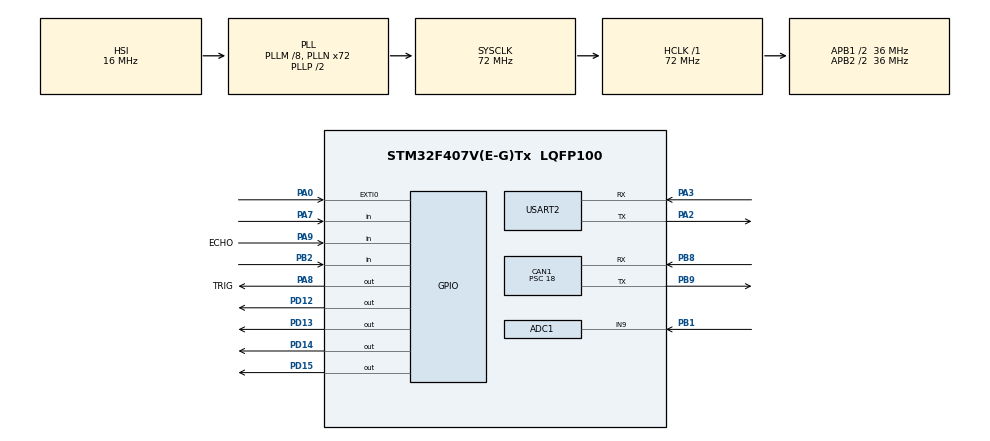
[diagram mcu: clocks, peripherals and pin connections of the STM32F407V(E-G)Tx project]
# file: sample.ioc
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ADC1.Channel-0\#ChannelRegularConversion=ADC_CHANNEL_9
ADC1.NbrOfConversionFlag=1
ADC1.Rank-0\#ChannelRegularConversion=1
ADC1.SamplingTime-0\#ChannelRegularConversion=ADC_SAMPLETIME_3CYCLES
ADC1.master=1
CAN1.BS1=CAN_BS1_2TQ
CAN1.CalculateBaudRate=500000
CAN1.CalculateTimeBit=2000
CAN1.CalculateTimeQuantum=500.0
CAN1.Prescaler=18
Mcu.Family=STM32F4
Mcu.Name=STM32F407V(E-G)Tx
Mcu.Package=LQFP100
NVIC.CAN1_RX0_IRQn=true\:0\:0\:false\:false\:true\:true\:true\:true
NVIC.EXTI0_IRQn=true\:0\:0\:false\:false\:true\:true\:true\:true
NVIC.PriorityGroup=NVIC_PRIORITYGROUP_0
PA0-WKUP.Signal=GPXTI0
PA13.Mode=Serial_Wire
PA13.Signal=SYS_JTMS-SWDIO
PA14.Mode=Serial_Wire
PA14.Signal=SYS_JTCK-SWCLK
PA2.Mode=Asynchronous
PA2.Signal=USART2_TX
PA3.Mode=Asynchronous
PA3.Signal=USART2_RX
PA7.Signal=GPIO_Input
PA8.GPIO_Label=TRIG
PA8.Signal=GPIO_Output
PA9.GPIO_Label=ECHO
PA9.Signal=GPIO_Input
PB1.Signal=ADCx_IN9
PB2.Signal=GPIO_Input
PB8.Mode=CAN_Activate
PB8.Signal=CAN1_RX
PB9.Mode=CAN_Activate
PB9.Signal=CAN1_TX
PD12.Signal=GPIO_Output
PD13.Signal=GPIO_Output
PD14.Signal=GPIO_Output
PD15.Signal=GPIO_Output
ProjectManager.HeapSize=0x200
ProjectManager.StackSize=0x400
ProjectManager.TargetToolchain=STM32CubeIDE
RCC.48MHZClocksFreq_Value=20571428.57142857
RCC.AHBFreq_Value=72000000
RCC.APB1CLKDivider=RCC_HCLK_DIV2
RCC.APB1Freq_Value=36000000
RCC.APB1TimFreq_Value=72000000
RCC.APB2CLKDivider=RCC_HCLK_DIV2
RCC.APB2Freq_Value=36000000
RCC.APB2TimFreq_Value=72000000
RCC.CortexFreq_Value=72000000
RCC.HCLKFreq_Value=72000000
RCC.HSE_VALUE=8000000
RCC.HSI_VALUE=16000000
RCC.LSE_VALUE=32768
RCC.PLLM=8
RCC.PLLN=72
RCC.PLLQ=7
RCC.SYSCLKFreq_VALUE=72000000
RCC.SYSCLKSource=RCC_SYSCLKSOURCE_PLLCLK
RCC.VCOOutputFreq_Value=144000000
SH.ADCx_IN9.0=ADC1_IN9,IN9
TIM4.Period=0
TIM4.Prescaler=72-1
USART2.VirtualMode=VM_ASYNC
VP_TIM4_VS_ClockSourceINT.Mode=Internal
board=STM32F407G-DISC1

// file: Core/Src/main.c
/* USER CODE BEGIN Header */
/**
  ******************************************************************************
  * @file           : main.c
  * @brief          : Main program body
  ******************************************************************************
  * @attention
  *
  * Copyright (c) 2024 STMicroelectronics.
  * All rights reserved.
  *
  * This software is licensed under terms that can be found in the LICENSE file
  * in the root directory of this software component.
  * If no LICENSE file comes with this software, it is provided AS-IS.
  *
  ******************************************************************************
  */
/* USER CODE END Header */
#include "main.h"

/* USER CODE BEGIN Includes */
	#include <string.h>
	#include <stdio.h>
/* USER CODE END Includes */

/* USER CODE BEGIN PTD */
	#define usTIM	TIM4
/* USER CODE END PTD */

/* USER CODE BEGIN PD */
	#define DHT11_PIN GPIO_PIN_7
	#define DHT11_PORT GPIOA

	#define TRIG_Pin GPIO_PIN_8
	#define TRIG_GPIO_Port GPIOA

	#define ECHO_Pin GPIO_PIN_9
	#define ECHO_GPIO_Port GPIOA
/* USER CODE END PD */

ADC_HandleTypeDef hadc1;

CAN_HandleTypeDef hcan1;

TIM_HandleTypeDef htim4;

UART_HandleTypeDef huart2;

/* USER CODE BEGIN PV */
uint8_t TxData[4];
CAN_TxHeaderTypeDef TxHeader;
uint32_t TxMailBox;
/* USER CODE END PV */

void SystemClock_Config(void);
static void MX_GPIO_Init(void);
static void MX_CAN1_Init(void);
static void MX_TIM4_Init(void);
static void MX_USART2_UART_Init(void);
static void MX_ADC1_Init(void);
/* USER CODE BEGIN PFP */

void delay_us(uint32_t us) {

    us *= (SystemCoreClock / 1000000) / 9;

    while (us--) {

        __NOP();

    }

}

void delay_ms(uint32_t ms) {

    HAL_Delay(ms);

}

void DHT11_Start(void) {

    GPIO_InitTypeDef GPIO_InitStruct;

    GPIO_InitStruct.Pin = DHT11_PIN;

    GPIO_InitStruct.Mode = GPIO_MODE_OUTPUT_PP;

    GPIO_InitStruct.Pull = GPIO_PULLUP;

    GPIO_InitStruct.Speed = GPIO_SPEED_FREQ_HIGH;

    HAL_GPIO_Init(DHT11_PORT, &GPIO_InitStruct);

    HAL_GPIO_WritePin(DHT11_PORT, DHT11_PIN, GPIO_PIN_RESET);

    delay_ms(18);

    HAL_GPIO_WritePin(DHT11_PORT, DHT11_PIN, GPIO_PIN_SET);

    delay_us(30);

    GPIO_InitStruct.Mode = GPIO_MODE_INPUT;

    HAL_GPIO_Init(DHT11_PORT, &GPIO_InitStruct);

}

uint8_t DHT11_Check_Response(void) {

    uint8_t response = 0;

    delay_us(40);

    if (!HAL_GPIO_ReadPin(DHT11_PORT, DHT11_PIN)) {

        delay_us(80);

        if (HAL_GPIO_ReadPin(DHT11_PORT, DHT11_PIN)) {

            response = 1;

        }

    }

    while (HAL_GPIO_ReadPin(DHT11_PORT, DHT11_PIN));

    return response;

}

uint8_t DHT11_Read_Bit(void) {

    uint8_t bit = 0;

    while (!HAL_GPIO_ReadPin(DHT11_PORT, DHT11_PIN));

    delay_us(30);

    if (HAL_GPIO_ReadPin(DHT11_PORT, DHT11_PIN)) {

        bit = 1;

    }

    while (HAL_GPIO_ReadPin(DHT11_PORT, DHT11_PIN));

    return bit;

}

uint8_t DHT11_Read_Byte(void) {

    uint8_t byte = 0;

    for (int i = 0; i < 8; i++) {

        byte |= (DHT11_Read_Bit() << (7 - i));

    }

    return byte;

}

void DHT11_Read_Data(uint8_t* temperature, uint8_t* humidity) {

    uint8_t data[5];

    DHT11_Start();

    if (DHT11_Check_Response()) {

        for (int i = 0; i < 5; i++) {

            data[i] = DHT11_Read_Byte();

        }

        if ((data[0] + data[1] + data[2] + data[3]) == data[4]) {

            *humidity = data[0];

            *temperature = data[2];

        }

    }

}

void usDelay(uint32_t uSec);

/* USER CODE END PFP */

/* USER CODE BEGIN 0 */
//Speed of sound in cm/usec
const float speedOfSound = 0.0343/2;
float distance;
int Switch_Flag=0;
char uartBuf[100];
//void HAL_GPIO_EXTI_Callback(uint16_t GPIO_Pin){
//	Switch_Flag = 1;
//	HAL_GPIO_WritePin(GPIOD, GPIO_PIN_14, GPIO_PIN_SET);
////	HAL_Delay(1000);
////	HAL_GPIO_WritePin(GPIOD, GPIO_PIN_14, GPIO_PIN_RESET);
////	Switch_Flag = 0;
//}
/* USER CODE END 0 */

int main(void)
{
  /* USER CODE BEGIN 1 */
	uint32_t numTicks = 0;
	uint16_t ad_value;
  /* USER CODE END 1 */

  /* MCU Configuration--------------------------------------------------------*/

  /* Reset of all peripherals, Initializes the Flash interface and the Systick. */
  HAL_Init();

  /* Configure the system clock */
  SystemClock_Config();

  /* Initialize all configured peripherals */
  MX_GPIO_Init();
  MX_CAN1_Init();
  MX_TIM4_Init();
  MX_USART2_UART_Init();
  MX_ADC1_Init();
  /* USER CODE BEGIN 2 */
  uint8_t temperature, humidity;

   char buffer[50];

   HAL_CAN_Start(&hcan1);
   HAL_CAN_ActivateNotification(&hcan1, CAN_IT_RX_FIFO0_MSG_PENDING);
   HAL_Delay(100);
   HAL_Delay(100);

   TxHeader.DLC=8;
   TxHeader.RTR=CAN_RTR_DATA;
   TxHeader.IDE=CAN_ID_STD;
   TxHeader.ExtId=0x0;
   TxHeader.StdId=0x0AA;
   TxHeader.TransmitGlobalTime=DISABLE;
   HAL_ADC_Start_IT(&hadc1);
  /* USER CODE END 2 */

  /* Infinite loop */
  /* USER CODE BEGIN WHILE */
  while (1)
  {
	 // if(Switch_Flag == 1){
	  	 //TxData[0] = 'S';	//yellow
	  	  //if (HAL_CAN_AddTxMessage(&hcan1, &TxHeader, TxData, &TxMailBox) != HAL_OK)
	  	  	//  		Error_Handler();
	  	  //HAL_GPIO_WritePin(GPIOD, GPIO_PIN_12, GPIO_PIN_SET);
	 // }
	  	  DHT11_Read_Data(&temperature, &humidity);

	  	  sprintf(buffer, "Temperature: %d°C, Humidity: %d%%\r\n", temperature, humidity);

	  	  HAL_UART_Transmit(&huart2, (uint8_t *)buffer, strlen(buffer), HAL_MAX_DELAY);
	  	  	  TxData[0]=temperature;
	  	  HAL_Delay(1000);

	  	//Set TRIG to LOW for few uSec
	  			HAL_GPIO_WritePin(TRIG_GPIO_Port, TRIG_Pin, GPIO_PIN_RESET);
	  			usDelay(3);

	  			//*** START Ultrasonic measure routine ***//
	  			//1. Output 10 usec TRIG
	  			HAL_GPIO_WritePin(TRIG_GPIO_Port, TRIG_Pin, GPIO_PIN_SET);
	  			usDelay(10);
	  			HAL_GPIO_WritePin(TRIG_GPIO_Port, TRIG_Pin, GPIO_PIN_RESET);

	  			//2. Wait for ECHO pin rising edge
	  	 		while(HAL_GPIO_ReadPin(ECHO_GPIO_Port, ECHO_Pin) == GPIO_PIN_RESET);

	  			//3. Start measuring ECHO pulse width in usec
	  			numTicks = 0;
	  			while(HAL_GPIO_ReadPin(ECHO_GPIO_Port, ECHO_Pin) == GPIO_PIN_SET)
	  			{
	  				numTicks++;
	  				usDelay(2); //2.8usec
	  			};

	  			//4. Estimate distance in cm
	  			distance = (numTicks + 0.0f)*2.8*speedOfSound;
	  			sprintf(uartBuf, "Distance (cm)  = %.1f\r\n", distance);
	  			HAL_UART_Transmit(&huart2, (uint8_t *)uartBuf, strlen(uartBuf), 100);
	  			TxData[1]=distance;

	  			ad_value = HAL_ADC_GetValue(&hadc1);
	  					if(HAL_GPIO_ReadPin(GPIOA, GPIO_PIN_4) == 0)
	  						{
	  							HAL_UART_Transmit(&huart2, (uint8_t*)"Gas leakage!!!\r\n", sizeof("Gas leakage!!!\n"), 100);
	  							sprintf(uartBuf,"ad_value:%fV\n",ad_value*3.3/4096);
	  							HAL_UART_Transmit(&huart2, (uint8_t*)uartBuf,strlen(uartBuf), 100);
	  						}
	  					else
	  						HAL_UART_Transmit(&huart2, (uint8_t*)"No leakage!!!\r\n", sizeof("No leakage!!!\n"), 100);
	  					HAL_Delay(500);

	  			//	HAL_Delay(5000);

	  			 //TxData[1] = 'T';	//yellow
	  					if (HAL_CAN_AddTxMessage(&hcan1, &TxHeader, TxData, &TxMailBox) != HAL_OK)
	  						Error_Handler();
	  					HAL_GPIO_WritePin(GPIOD, GPIO_PIN_13, GPIO_PIN_SET);
	  			HAL_Delay(3000);
	  			//5. Print to UART terminal for debugging
	  	//		sprintf(uartBuf, "Distance (cm)  = %.1f\r\n", distance);
	  	//		HAL_UART_Transmit(&huart2, (uint8_t *)uartBuf, strlen(uartBuf), 100);
    /* USER CODE END WHILE */

  }
}

void SystemClock_Config(void)
{
  RCC_OscInitTypeDef RCC_OscInitStruct = {0};
  RCC_ClkInitTypeDef RCC_ClkInitStruct = {0};

  /** Configure the main internal regulator output voltage
  */
  __HAL_RCC_PWR_CLK_ENABLE();
  __HAL_PWR_VOLTAGESCALING_CONFIG(PWR_REGULATOR_VOLTAGE_SCALE1);

  /** Initializes the RCC Oscillators according to the specified parameters
  * in the RCC_OscInitTypeDef structure.
  */
  RCC_OscInitStruct.OscillatorType = RCC_OSCILLATORTYPE_HSI;
  RCC_OscInitStruct.HSIState = RCC_HSI_ON;
  RCC_OscInitStruct.HSICalibrationValue = RCC_HSICALIBRATION_DEFAULT;
  RCC_OscInitStruct.PLL.PLLState = RCC_PLL_ON;
  RCC_OscInitStruct.PLL.PLLSource = RCC_PLLSOURCE_HSI;
  RCC_OscInitStruct.PLL.PLLM = 8;
  RCC_OscInitStruct.PLL.PLLN = 72;
  RCC_OscInitStruct.PLL.PLLP = RCC_PLLP_DIV2;
  RCC_OscInitStruct.PLL.PLLQ = 7;
  if (HAL_RCC_OscConfig(&RCC_OscInitStruct) != HAL_OK)
  {
    Error_Handler();
  }

  /** Initializes the CPU, AHB and APB buses clocks
  */
  RCC_ClkInitStruct.ClockType = RCC_CLOCKTYPE_HCLK|RCC_CLOCKTYPE_SYSCLK
                              |RCC_CLOCKTYPE_PCLK1|RCC_CLOCKTYPE_PCLK2;
  RCC_ClkInitStruct.SYSCLKSource = RCC_SYSCLKSOURCE_PLLCLK;
  RCC_ClkInitStruct.AHBCLKDivider = RCC_SYSCLK_DIV1;
  RCC_ClkInitStruct.APB1CLKDivider = RCC_HCLK_DIV2;
  RCC_ClkInitStruct.APB2CLKDivider = RCC_HCLK_DIV2;

  if (HAL_RCC_ClockConfig(&RCC_ClkInitStruct, FLASH_LATENCY_2) != HAL_OK)
  {
    Error_Handler();
  }
}

static void MX_ADC1_Init(void)
{

  ADC_ChannelConfTypeDef sConfig = {0};

  /** Configure the global features of the ADC (Clock, Resolution, Data Alignment and number of conversion)
  */
  hadc1.Instance = ADC1;
  hadc1.Init.ClockPrescaler = ADC_CLOCK_SYNC_PCLK_DIV2;
  hadc1.Init.Resolution = ADC_RESOLUTION_12B;
  hadc1.Init.ScanConvMode = DISABLE;
  hadc1.Init.ContinuousConvMode = DISABLE;
  hadc1.Init.DiscontinuousConvMode = DISABLE;
  hadc1.Init.ExternalTrigConvEdge = ADC_EXTERNALTRIGCONVEDGE_NONE;
  hadc1.Init.ExternalTrigConv = ADC_SOFTWARE_START;
  hadc1.Init.DataAlign = ADC_DATAALIGN_RIGHT;
  hadc1.Init.NbrOfConversion = 1;
  hadc1.Init.DMAContinuousRequests = DISABLE;
  hadc1.Init.EOCSelection = ADC_EOC_SINGLE_CONV;
  if (HAL_ADC_Init(&hadc1) != HAL_OK)
  {
    Error_Handler();
  }

  /** Configure for the selected ADC regular channel its corresponding rank in the sequencer and its sample time.
  */
  sConfig.Channel = ADC_CHANNEL_9;
  sConfig.Rank = 1;
  sConfig.SamplingTime = ADC_SAMPLETIME_3CYCLES;
  if (HAL_ADC_ConfigChannel(&hadc1, &sConfig) != HAL_OK)
  {
    Error_Handler();
  }

}

static void MX_CAN1_Init(void)
{

  hcan1.Instance = CAN1;
  hcan1.Init.Prescaler = 18;
  hcan1.Init.Mode = CAN_MODE_NORMAL;
  hcan1.Init.SyncJumpWidth = CAN_SJW_1TQ;
  hcan1.Init.TimeSeg1 = CAN_BS1_2TQ;
  hcan1.Init.TimeSeg2 = CAN_BS2_1TQ;
  hcan1.Init.TimeTriggeredMode = DISABLE;
  hcan1.Init.AutoBusOff = DISABLE;
  hcan1.Init.AutoWakeUp = DISABLE;
  hcan1.Init.AutoRetransmission = DISABLE;
  hcan1.Init.ReceiveFifoLocked = DISABLE;
  hcan1.Init.TransmitFifoPriority = DISABLE;
  if (HAL_CAN_Init(&hcan1) != HAL_OK)
  {
    Error_Handler();
  }
  /* USER CODE BEGIN CAN1_Init 2 */
  	CAN_FilterTypeDef canFilterConfig;
   canFilterConfig.FilterActivation=CAN_FILTER_ENABLE;
   canFilterConfig.SlaveStartFilterBank=14;
   canFilterConfig.FilterBank=2;
   canFilterConfig.FilterFIFOAssignment=CAN_RX_FIFO0;
   canFilterConfig.FilterScale=CAN_FILTERSCALE_32BIT;
   canFilterConfig.FilterMode=CAN_FILTERMODE_IDMASK;
   canFilterConfig.FilterMaskIdLow=0x0000;
   canFilterConfig.FilterMaskIdHigh=0xFF00;
   canFilterConfig.FilterIdLow=0x0000;
   canFilterConfig.FilterIdHigh=0x1500;
   HAL_CAN_ConfigFilter(&hcan1, &canFilterConfig);
  /* USER CODE END CAN1_Init 2 */

}

static void MX_TIM4_Init(void)
{

  TIM_ClockConfigTypeDef sClockSourceConfig = {0};
  TIM_MasterConfigTypeDef sMasterConfig = {0};

  htim4.Instance = TIM4;
  htim4.Init.Prescaler = 72-1;
  htim4.Init.CounterMode = TIM_COUNTERMODE_UP;
  htim4.Init.Period = 0;
  htim4.Init.ClockDivision = TIM_CLOCKDIVISION_DIV1;
  htim4.Init.AutoReloadPreload = TIM_AUTORELOAD_PRELOAD_DISABLE;
  if (HAL_TIM_Base_Init(&htim4) != HAL_OK)
  {
    Error_Handler();
  }
  sClockSourceConfig.ClockSource = TIM_CLOCKSOURCE_INTERNAL;
  if (HAL_TIM_ConfigClockSource(&htim4, &sClockSourceConfig) != HAL_OK)
  {
    Error_Handler();
  }
  sMasterConfig.MasterOutputTrigger = TIM_TRGO_RESET;
  sMasterConfig.MasterSlaveMode = TIM_MASTERSLAVEMODE_DISABLE;
  if (HAL_TIMEx_MasterConfigSynchronization(&htim4, &sMasterConfig) != HAL_OK)
  {
    Error_Handler();
  }

}

static void MX_USART2_UART_Init(void)
{

  huart2.Instance = USART2;
  huart2.Init.BaudRate = 115200;
  huart2.Init.WordLength = UART_WORDLENGTH_8B;
  huart2.Init.StopBits = UART_STOPBITS_1;
  huart2.Init.Parity = UART_PARITY_NONE;
  huart2.Init.Mode = UART_MODE_TX_RX;
  huart2.Init.HwFlowCtl = UART_HWCONTROL_NONE;
  huart2.Init.OverSampling = UART_OVERSAMPLING_16;
  if (HAL_UART_Init(&huart2) != HAL_OK)
  {
    Error_Handler();
  }

}

static void MX_GPIO_Init(void)
{
  GPIO_InitTypeDef GPIO_InitStruct = {0};

  /* GPIO Ports Clock Enable */
  __HAL_RCC_GPIOA_CLK_ENABLE();
  __HAL_RCC_GPIOB_CLK_ENABLE();
  __HAL_RCC_GPIOD_CLK_ENABLE();

  /*Configure GPIO pin Output Level */
  HAL_GPIO_WritePin(GPIOD, GPIO_PIN_12|GPIO_PIN_13|GPIO_PIN_14|GPIO_PIN_15, GPIO_PIN_RESET);

  /*Configure GPIO pin Output Level */
  HAL_GPIO_WritePin(TRIG_GPIO_Port, TRIG_Pin, GPIO_PIN_RESET);

  /*Configure GPIO pin : PA0 */
  GPIO_InitStruct.Pin = GPIO_PIN_0;
  GPIO_InitStruct.Mode = GPIO_MODE_IT_RISING;
  GPIO_InitStruct.Pull = GPIO_NOPULL;
  HAL_GPIO_Init(GPIOA, &GPIO_InitStruct);

  /*Configure GPIO pins : PA7 ECHO_Pin */
  GPIO_InitStruct.Pin = GPIO_PIN_7|ECHO_Pin;
  GPIO_InitStruct.Mode = GPIO_MODE_INPUT;
  GPIO_InitStruct.Pull = GPIO_NOPULL;
  HAL_GPIO_Init(GPIOA, &GPIO_InitStruct);

  /*Configure GPIO pin : PB2 */
  GPIO_InitStruct.Pin = GPIO_PIN_2;
  GPIO_InitStruct.Mode = GPIO_MODE_INPUT;
  GPIO_InitStruct.Pull = GPIO_NOPULL;
  HAL_GPIO_Init(GPIOB, &GPIO_InitStruct);

  /*Configure GPIO pins : PD12 PD13 PD14 PD15 */
  GPIO_InitStruct.Pin = GPIO_PIN_12|GPIO_PIN_13|GPIO_PIN_14|GPIO_PIN_15;
  GPIO_InitStruct.Mode = GPIO_MODE_OUTPUT_PP;
  GPIO_InitStruct.Pull = GPIO_NOPULL;
  GPIO_InitStruct.Speed = GPIO_SPEED_FREQ_LOW;
  HAL_GPIO_Init(GPIOD, &GPIO_InitStruct);

  /*Configure GPIO pin : TRIG_Pin */
  GPIO_InitStruct.Pin = TRIG_Pin;
  GPIO_InitStruct.Mode = GPIO_MODE_OUTPUT_PP;
  GPIO_InitStruct.Pull = GPIO_NOPULL;
  GPIO_InitStruct.Speed = GPIO_SPEED_FREQ_LOW;
  HAL_GPIO_Init(TRIG_GPIO_Port, &GPIO_InitStruct);

  /* EXTI interrupt init*/
  HAL_NVIC_SetPriority(EXTI0_IRQn, 0, 0);
  HAL_NVIC_EnableIRQ(EXTI0_IRQn);

}

/* USER CODE BEGIN 4 */
void usDelay(uint32_t uSec)
{
	if(uSec < 2) uSec = 2;
	usTIM->ARR = uSec - 1; 	/*sets the value in the auto-reload register*/
	usTIM->EGR = 1; 			/*Re-initialises the timer*/
	usTIM->SR &= ~1; 		//Resets the flag
	usTIM->CR1 |= 1; 		//Enables the counter
	while((usTIM->SR&0x0001) != 1);
	usTIM->SR &= ~(0x0001);
}
void HAL_CAN_TxMailbox0CompleteCallback(CAN_HandleTypeDef *hcan)
{
	HAL_GPIO_WritePin(GPIOD, GPIO_PIN_15, GPIO_PIN_SET);
}

/* USER CODE END 4 */

void Error_Handler(void)
{
  __disable_irq();
  while (1)
  {
  }
}
